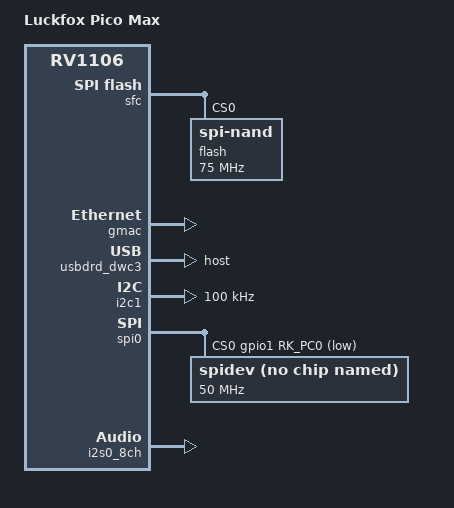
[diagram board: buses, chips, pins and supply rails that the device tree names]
// SPDX-License-Identifier: (GPL-2.0+ OR MIT)
/*
 * Copyright (c) 2022 Rockchip Electronics Co., Ltd.
 */

/dts-v1/;

#include "rv1106.dtsi"
#include "rv1106-luckfox-pico-pro-max-ipc.dtsi"
#include "rv1106-pinctrl.dtsi"
/ {
	model = "Luckfox Pico Max";
//	compatible = "rockchip,rv1103g-38x38-ipc-v10", "rockchip,rv1106";
	compatible = "rockchip,rv1106";


};

/*
&emmc {
        bus-width = <8>;
        cap-mmc-highspeed;
        non-removable;
        // mmc-hs200-1_8v;
        rockchip,default-sample-phase = <90>;
        no-sdio;
        no-sd;
        memory-region-ecsd = <&mmc_ecsd>;
        post-power-on-delay-ms = <0>;
        status = "okay";
};
*/


/**********FLASH**********/
&sfc {
	status = "okay";
	flash@0 {
		compatible = "spi-nand";
		reg = <0>;
		spi-max-frequency = <75000000>;
		spi-rx-bus-width = <4>;
		spi-tx-bus-width = <1>;
	};
	
};

/**********SDMMC**********/
&sdmmc {
	max-frequency = <50000000>;
	no-sdio;
	no-mmc;
	bus-width = <4>;
	cap-mmc-highspeed;
	cap-sd-highspeed;
	disable-wp;
	pinctrl-names = "default";
	pinctrl-0 = <&sdmmc0_clk &sdmmc0_cmd &sdmmc0_det &sdmmc0_bus4>;
	status = "disable";
};


/**********ETH**********/
&gmac {
	status = "okay";
};

/**********USB**********/
&usbdrd_dwc3 {
	status = "okay";
	dr_mode = "host";
};

/**********I2C**********/
&i2c1 {
 	status = "okay";
 	pinctrl-0 = <&i2c1m1_xfer>;
 	clock-frequency = <100000>;
 };
&i2c3 {
	status = "disable";
	pinctrl-0 = <&i2c3m1_xfer>;
	clock-frequency = <100000>;
};

// /**********SPI**********/
&spi0 {
	status = "okay";
	pinctrl-names = "default";
	pinctrl-0 = <&spi0m0_pins>;
	cs-gpios = <&gpio1 RK_PC0 1>;
	// cs-gpios = <&gpio1 26 1>;
	#address-cells = <1>;
	#size-cells = <0>;
	spidev@0 {
		compatible = "rockchip,spidev";
		spi-max-frequency = <50000000>;
		reg = <0>;
	};
};

&i2s0_8ch {
	status = "okay";
};

&acodec {
	status = "disable";
};

&rtc {
	status = "disable";
};


